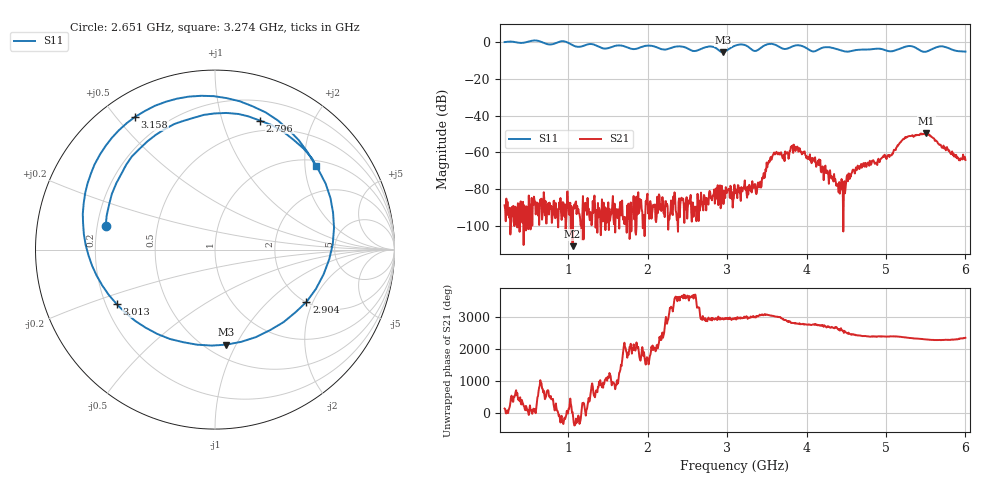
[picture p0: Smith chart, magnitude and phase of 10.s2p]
! NanoVNA-App
! Date: 2024-06-25 16:10:58
! Start: 200MHz Stop: 6GHz Points: 801
! S-Parameter data: F S11 S21 S12 S22
# Hz S RI R 50
!  Frequency  S11_Real  S11_Imag  S21_Real  S21_Imag  S12_Real  S12_Imag  S22_Real  S22_Imag
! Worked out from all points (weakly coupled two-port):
!   801 points, 200 MHz to 6 GHz, reference 50 ohm
!   highest |S21| = -49.64 dB at 5.507 GHz (marker M1); lowest = -111.2 dB at 1.056 GHz (marker M2)
!   lowest |S11| = -5.5 dB at 2.948 GHz (marker M3), VSWR 3.29, Z = 30.9 - j45.8 ohm
!   |S11| at or under -10 dB: nowhere
!   S12 and S22 are empty: the file has one direction only
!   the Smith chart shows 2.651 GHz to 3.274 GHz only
!   S11 on the Smith chart (normalised r, x): 2.651 GHz: 0.23, +0.10; 2.796 GHz: 0.39, +1.34; 2.904 GHz: 2.01, -1.79; 3.013 GHz: 0.24, -0.24; 3.158 GHz: 0.10, +0.56; 3.274 GHz: 1.15, +2.28
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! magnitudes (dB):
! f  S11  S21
! 200 MHz  0.0  -88.9
! 1.056 GHz  -1.6  -111.2
! 1.171 GHz  -2.3  -107.5
! 2.136 GHz  -3.1  -85.1
! 2.651 GHz  -4.1  -86.4
! 2.796 GHz  -2.4  -85.1
! 2.904 GHz  -4.6  -86.7
! 2.948 GHz  -5.5  -81.1
! 3.013 GHz  -4.1  -80.3
! 3.1 GHz  -1.9  -82.2
! 3.158 GHz  -1.3  -79.4
! 3.274 GHz  -2.7  -78.1
! 3.405 GHz  -3.8  -79.1
! 3.6 GHz  -1.3  -61.2
! 3.869 GHz  -1.7  -57.3
! 4.072 GHz  -5.0  -63.5
! 4.405 GHz  -4.1  -81.9
! 4.659 GHz  -4.1  -67.9
! 5.036 GHz  -4.9  -61.5
! 5.239 GHz  -2.5  -51.9
! 5.507 GHz  -5.2  -49.6
! 6 GHz  -5.1  -64.2
